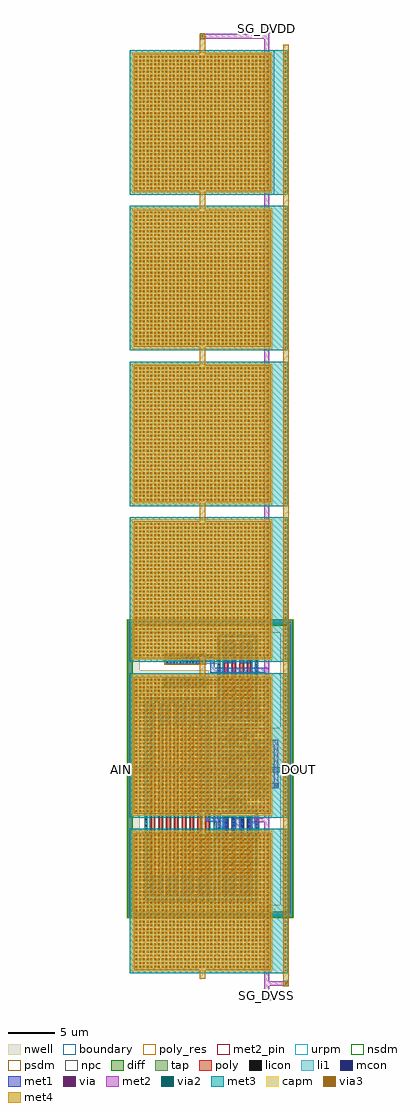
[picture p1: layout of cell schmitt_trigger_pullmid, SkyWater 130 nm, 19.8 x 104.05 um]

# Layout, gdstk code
from math import pi, radians
import gdstk
lib = gdstk.Library(unit=1e-6, precision=1e-09)
def R(c, l, rs):  # rectangles x0, y0, x1, y1
    for r in rs: c.add(gdstk.rectangle(r[:2], r[2:], *l))
def A(c, l, x, y, w, h, nx, ny, dx, dy):  # array of equal rectangles
    R(c, l, [(x+i*dx, y+j*dy, x+i*dx+w, y+j*dy+h) for i in range(nx) for j in range(ny)])
nwell = (64, 20)
diff = (65, 20)
tap = (65, 44)
poly_res = (66, 13)
poly = (66, 20)
licon = (66, 44)
li1 = (67, 20)
mcon = (67, 44)
met1 = (68, 20)
via = (68, 44)
met2_pin = (69, 16)
met2 = (69, 20)
via2 = (69, 44)
met3 = (70, 20)
via3 = (70, 44)
met4 = (71, 20)
urpm = (79, 20)
capm = (89, 44)
nsdm = (93, 44)
psdm = (94, 20)
npc = (95, 20)
boundary = (235, 4)

sky130_fd_pr__res_xhigh_ = lib.new_cell('sky130_fd_pr__res_xhigh_po_0p35_33YP5M')
R(sky130_fd_pr__res_xhigh_, tap, [(-2.07,-4.81,2.07,-4.64), (-2.07,-4.64,-1.9,4.64), (1.9,-4.64,2.07,4.64), (-2.07,4.64,2.07,4.81)])
A(sky130_fd_pr__res_xhigh_, poly_res, -1.42, -2.08, 0.35, 4.16, 4, 1, 0.83, 0)
A(sky130_fd_pr__res_xhigh_, poly, -1.42, -4.16, 0.35, 8.32, 4, 1, 0.83, 0)
A(sky130_fd_pr__res_xhigh_, licon, -1.445, -4.81, 0.17, 0.17, 9, 2, 0.34, 9.45)
A(sky130_fd_pr__res_xhigh_, licon, -2.07, -4.165, 0.17, 0.17, 1, 25, 0, 0.34)
A(sky130_fd_pr__res_xhigh_, licon, 1.9, -4.165, 0.17, 0.17, 1, 25, 0, 0.34)
A(sky130_fd_pr__res_xhigh_, licon, -1.34, -4.08, 0.19, 2, 4, 2, 0.83, 6.16)
A(sky130_fd_pr__res_xhigh_, li1, -1.42, -4.16, 0.35, 2.16, 4, 2, 0.83, 6.16)
R(sky130_fd_pr__res_xhigh_, li1, [(-2.07,-4.81,2.07,-4.64), (-2.07,-4.64,-1.9,4.64), (1.9,-4.64,2.07,4.64), (-2.07,4.64,2.07,4.81)])
A(sky130_fd_pr__res_xhigh_, mcon, -1.33, -4.065, 0.17, 0.17, 4, 6, 0.83, 0.36)
A(sky130_fd_pr__res_xhigh_, mcon, -1.33, 2.09, 0.17, 0.17, 4, 6, 0.83, 0.36)
A(sky130_fd_pr__res_xhigh_, met1, -1.37, -4.13, 0.25, 2.105, 4, 2, 0.83, 6.155)
R(sky130_fd_pr__res_xhigh_, urpm, [(-1.62,-4.36,1.62,4.36)])
R(sky130_fd_pr__res_xhigh_, psdm, [(-2.195,-4.935,2.195,4.935)])
A(sky130_fd_pr__res_xhigh_, npc, -1.515, -4.255, 0.54, 8.51, 4, 1, 0.83, 0)
R(sky130_fd_pr__res_xhigh_, boundary, [(-1.985,-4.725,1.985,4.725)])

sky130_fd_pr__pfet_01v8_ = lib.new_cell('sky130_fd_pr__pfet_01v8_6QYSWZ')
R(sky130_fd_pr__pfet_01v8_, nwell, [(-1.13,-1.595,1.13,1.595)])
R(sky130_fd_pr__pfet_01v8_, diff, [(-0.44,-0.5,0.44,0.5)])
R(sky130_fd_pr__pfet_01v8_, tap, [(-0.95,-1.415,0.95,-1.245), (-0.95,-1.245,-0.78,1.245), (0.78,-1.245,0.95,1.245), (-0.95,1.245,0.95,1.415)])
R(sky130_fd_pr__pfet_01v8_, poly, [(-0.165,-0.985,0.165,-0.655), (-0.15,-0.655,0.15,0.655), (-0.165,0.655,0.165,0.985)])
A(sky130_fd_pr__pfet_01v8_, licon, -0.425, -1.415, 0.17, 0.17, 3, 2, 0.34, 2.66)
A(sky130_fd_pr__pfet_01v8_, licon, -0.95, -0.935, 0.17, 0.17, 1, 6, 0, 0.34)
A(sky130_fd_pr__pfet_01v8_, licon, 0.78, -0.935, 0.17, 0.17, 1, 6, 0, 0.34)
A(sky130_fd_pr__pfet_01v8_, licon, -0.38, -0.425, 0.17, 0.17, 1, 3, 0, 0.34)
A(sky130_fd_pr__pfet_01v8_, licon, 0.21, -0.425, 0.17, 0.17, 1, 3, 0, 0.34)
R(sky130_fd_pr__pfet_01v8_, licon, [(-0.085,-0.905,0.085,-0.735), (-0.085,0.735,0.085,0.905)])
R(sky130_fd_pr__pfet_01v8_, li1, [(-0.95,-1.415,0.95,-1.245), (-0.95,-1.245,-0.78,1.245), (0.78,-1.245,0.95,1.245), (-0.165,-0.905,0.165,-0.735), (-0.38,-0.52,-0.21,0.52), (0.21,-0.52,0.38,0.52), (-0.165,0.735,0.165,0.905), (-0.95,1.245,0.95,1.415)])
R(sky130_fd_pr__pfet_01v8_, mcon, [(-0.085,-0.905,0.085,-0.735), (-0.38,-0.265,-0.21,-0.095), (0.21,-0.265,0.38,-0.095), (-0.38,0.095,-0.21,0.265), (0.21,0.095,0.38,0.265), (-0.085,0.735,0.085,0.905)])
R(sky130_fd_pr__pfet_01v8_, met1, [(-0.145,-0.935,0.145,-0.705), (-0.41,-0.5,-0.18,0.5), (0.18,-0.5,0.41,0.5), (-0.145,0.705,0.145,0.935)])
R(sky130_fd_pr__pfet_01v8_, nsdm, [(-1.075,-1.54,1.075,-1.12), (-1.075,-1.12,-0.655,1.12), (0.655,-1.12,1.075,1.12), (-1.075,1.12,1.075,1.54)])
R(sky130_fd_pr__pfet_01v8_, psdm, [(-0.565,-0.625,0.565,0.625)])
R(sky130_fd_pr__pfet_01v8_, npc, [(-0.185,-1.005,0.185,-0.635), (-0.185,0.635,0.185,1.005)])
R(sky130_fd_pr__pfet_01v8_, boundary, [(-0.865,-1.33,0.865,1.33)])

sky130_fd_pr__nfet_01v8_ = lib.new_cell('sky130_fd_pr__nfet_01v8_723X3M')
R(sky130_fd_pr__nfet_01v8_, diff, [(-0.39,-0.5,0.39,0.5)])
R(sky130_fd_pr__nfet_01v8_, tap, [(-0.9,-1.37,0.9,-1.2), (-0.9,-1.2,-0.73,1.2), (0.73,-1.2,0.9,1.2), (-0.9,1.2,0.9,1.37)])
R(sky130_fd_pr__nfet_01v8_, poly, [(-0.165,-0.94,0.165,-0.61), (-0.1,-0.61,0.1,0.61), (-0.165,0.61,0.165,0.94)])
A(sky130_fd_pr__nfet_01v8_, licon, -0.9, -0.765, 0.17, 0.17, 1, 5, 0, 0.34)
A(sky130_fd_pr__nfet_01v8_, licon, 0.73, -0.765, 0.17, 0.17, 1, 5, 0, 0.34)
A(sky130_fd_pr__nfet_01v8_, licon, -0.33, -0.425, 0.17, 0.17, 1, 3, 0, 0.34)
A(sky130_fd_pr__nfet_01v8_, licon, 0.16, -0.425, 0.17, 0.17, 1, 3, 0, 0.34)
R(sky130_fd_pr__nfet_01v8_, licon, [(-0.255,-1.37,-0.085,-1.2), (0.085,-1.37,0.255,-1.2), (-0.085,-0.86,0.085,-0.69), (-0.085,0.69,0.085,0.86), (-0.255,1.2,-0.085,1.37), (0.085,1.2,0.255,1.37)])
R(sky130_fd_pr__nfet_01v8_, li1, [(-0.9,-1.37,0.9,-1.2), (-0.9,-1.2,-0.73,1.2), (0.73,-1.2,0.9,1.2), (-0.165,-0.86,0.165,-0.69), (-0.33,-0.52,-0.16,0.52), (0.16,-0.52,0.33,0.52), (-0.165,0.69,0.165,0.86), (-0.9,1.2,0.9,1.37)])
R(sky130_fd_pr__nfet_01v8_, mcon, [(-0.085,-0.86,0.085,-0.69), (-0.33,-0.265,-0.16,-0.095), (0.16,-0.265,0.33,-0.095), (-0.33,0.095,-0.16,0.265), (0.16,0.095,0.33,0.265), (-0.085,0.69,0.085,0.86)])
R(sky130_fd_pr__nfet_01v8_, met1, [(-0.145,-0.89,0.145,-0.66), (-0.36,-0.5,-0.13,0.5), (0.13,-0.5,0.36,0.5), (-0.145,0.66,0.145,0.89)])
R(sky130_fd_pr__nfet_01v8_, nsdm, [(-0.515,-0.625,0.515,0.625)])
R(sky130_fd_pr__nfet_01v8_, psdm, [(-1.025,-1.495,1.025,-1.075), (-1.025,-1.075,-0.605,1.075), (0.605,-1.075,1.025,1.075), (-1.025,1.075,1.025,1.495)])
R(sky130_fd_pr__nfet_01v8_, npc, [(-0.185,-0.96,0.185,-0.59), (-0.185,0.59,0.185,0.96)])
R(sky130_fd_pr__nfet_01v8_, boundary, [(-0.815,-1.285,0.815,1.285)])

c_sky130_fd_pr__res_xhigh_ = lib.new_cell('sky130_fd_pr__res_xhigh_po_0p35_METDPQ')
R(c_sky130_fd_pr__res_xhigh_, tap, [(-3.73,-10.83,3.73,-10.66), (-3.73,-10.66,-3.56,10.66), (3.56,-10.66,3.73,10.66), (-3.73,10.66,3.73,10.83)])
A(c_sky130_fd_pr__res_xhigh_, poly_res, -3.08, -8.1, 0.35, 16.2, 8, 1, 0.83, 0)
A(c_sky130_fd_pr__res_xhigh_, poly, -3.08, -10.18, 0.35, 20.36, 8, 1, 0.83, 0)
A(c_sky130_fd_pr__res_xhigh_, licon, -3.145, -10.83, 0.17, 0.17, 19, 2, 0.34, 21.49)
A(c_sky130_fd_pr__res_xhigh_, licon, -3.73, -10.285, 0.17, 0.17, 1, 61, 0, 0.34)
A(c_sky130_fd_pr__res_xhigh_, licon, 3.56, -10.285, 0.17, 0.17, 1, 61, 0, 0.34)
A(c_sky130_fd_pr__res_xhigh_, licon, -3, -10.1, 0.19, 2, 8, 2, 0.83, 18.2)
A(c_sky130_fd_pr__res_xhigh_, li1, -3.08, -10.18, 0.35, 2.16, 8, 2, 0.83, 18.2)
R(c_sky130_fd_pr__res_xhigh_, li1, [(-3.73,-10.83,3.73,-10.66), (-3.73,-10.66,-3.56,10.66), (3.56,-10.66,3.73,10.66), (-3.73,10.66,3.73,10.83)])
A(c_sky130_fd_pr__res_xhigh_, mcon, -2.99, -10.085, 0.17, 0.17, 8, 6, 0.83, 0.36)
A(c_sky130_fd_pr__res_xhigh_, mcon, -2.99, 8.11, 0.17, 0.17, 8, 6, 0.83, 0.36)
A(c_sky130_fd_pr__res_xhigh_, met1, -3.03, -10.15, 0.25, 2.105, 8, 2, 0.83, 18.195)
R(c_sky130_fd_pr__res_xhigh_, urpm, [(-3.28,-10.38,3.28,10.38)])
R(c_sky130_fd_pr__res_xhigh_, psdm, [(-3.855,-10.955,3.855,10.955)])
A(c_sky130_fd_pr__res_xhigh_, npc, -3.175, -10.275, 0.54, 20.55, 8, 1, 0.83, 0)
R(c_sky130_fd_pr__res_xhigh_, boundary, [(-3.645,-10.745,3.645,10.745)])

sky130_fd_pr__cap_mim_m3 = lib.new_cell('sky130_fd_pr__cap_mim_m3_1_MPZGNS')
A(sky130_fd_pr__cap_mim_m3, met3, -8.43, -49.2, 16.86, 15.4, 1, 6, 0, 16.6)
A(sky130_fd_pr__cap_mim_m3, via3, 8.07, -49, 0.2, 0.2, 1, 38, 0, 0.4)
A(sky130_fd_pr__cap_mim_m3, via3, -7.83, -48.6, 0.2, 0.2, 36, 36, 0.4, 0.4)
A(sky130_fd_pr__cap_mim_m3, via3, 8.07, -32.4, 0.2, 0.2, 1, 38, 0, 0.4)
A(sky130_fd_pr__cap_mim_m3, via3, -7.83, -32, 0.2, 0.2, 36, 36, 0.4, 0.4)
A(sky130_fd_pr__cap_mim_m3, via3, 8.07, -15.8, 0.2, 0.2, 1, 38, 0, 0.4)
A(sky130_fd_pr__cap_mim_m3, via3, -7.83, -15.4, 0.2, 0.2, 36, 36, 0.4, 0.4)
A(sky130_fd_pr__cap_mim_m3, via3, 8.07, 0.8, 0.2, 0.2, 1, 38, 0, 0.4)
A(sky130_fd_pr__cap_mim_m3, via3, -7.83, 1.2, 0.2, 0.2, 36, 36, 0.4, 0.4)
A(sky130_fd_pr__cap_mim_m3, via3, 8.07, 17.4, 0.2, 0.2, 1, 38, 0, 0.4)
A(sky130_fd_pr__cap_mim_m3, via3, -7.83, 17.8, 0.2, 0.2, 36, 36, 0.4, 0.4)
A(sky130_fd_pr__cap_mim_m3, via3, 8.07, 34, 0.2, 0.2, 1, 38, 0, 0.4)
A(sky130_fd_pr__cap_mim_m3, via3, -7.83, 34.4, 0.2, 0.2, 36, 36, 0.4, 0.4)
A(sky130_fd_pr__cap_mim_m3, met4, -8.035, -48.805, 14.61, 14.61, 1, 6, 0, 16.6)
A(sky130_fd_pr__cap_mim_m3, met4, -0.99, -34.195, 0.52, 1.99, 1, 5, 0, 16.6)
R(sky130_fd_pr__cap_mim_m3, met4, [(-0.99,-49.8,-0.47,-48.805), (7.91,-49.8,8.43,49.8), (-0.99,48.805,-0.47,49.8)])
A(sky130_fd_pr__cap_mim_m3, capm, -8.23, -49, 15, 15, 1, 6, 0, 16.6)
R(sky130_fd_pr__cap_mim_m3, boundary, [(-8.43,33.8,6.97,49.2)])

schmitt_trigger_pullmid = lib.new_cell('schmitt_trigger_pullmid')
R(schmitt_trigger_pullmid, nwell, [(7.955,-11.245,25.795,-9.815), (7.955,-9.815,9.385,12.7), (24.365,-9.815,25.795,4.6), (22.6,4.6,25.795,7.7), (20.8,7.7,25.795,9.05), (24.365,9.05,25.795,18.965), (7.955,12.7,16.7,15.2), (7.955,15.2,9.385,18.965), (7.955,18.965,9.4,19.18), (24.35,18.965,25.795,19.18), (7.955,19.18,25.795,20.625)])
R(schmitt_trigger_pullmid, tap, [(8.14,-11.06,25.61,-10.69), (8.14,-10.69,8.51,20.07), (25.24,-10.69,25.61,20.07), (12.08,13.4,16.32,14.4), (12.08,15.9,16.32,16.9), (8.14,20.07,25.61,20.44)])
A(schmitt_trigger_pullmid, licon, 8.63, -10.96, 0.17, 0.17, 49, 2, 0.34, 31.13)
A(schmitt_trigger_pullmid, licon, 8.24, -10.525, 0.17, 0.17, 1, 90, 0, 0.34)
A(schmitt_trigger_pullmid, licon, 25.34, -10.525, 0.17, 0.17, 1, 90, 0, 0.34)
A(schmitt_trigger_pullmid, licon, 12.245, 13.475, 0.17, 0.17, 12, 3, 0.34, 0.34)
A(schmitt_trigger_pullmid, licon, 12.245, 15.975, 0.17, 0.17, 12, 3, 0.34, 0.34)
R(schmitt_trigger_pullmid, li1, [(8.24,-10.96,25.51,-10.79), (8.24,-10.79,8.41,20.17), (25.34,-10.79,25.51,20.17), (9.87,-9.57,21.94,-9.54), (9.84,-9.54,21.97,-9.2), (9.84,-9.2,10.21,11.92), (17.17,-9.2,18,-0.12), (21.6,-9.2,21.97,-0.12), (17.17,-0.12,21.97,0.22), (17.17,0.22,21.94,0.25), (17.17,0.25,20.72,0.535), (17.17,0.535,17.54,9.21), (17.78,0.535,20.72,0.75), (17.78,0.75,18.15,2.01), (20.35,0.75,20.72,1.58), (20.35,1.58,22.85,1.61), (20.35,1.61,22.88,1.95), (20.35,1.95,21.25,2.01), (22.51,1.95,22.88,4.11), (17.78,2.01,21.25,2.85), (17.78,2.85,18.15,4.11), (20.35,2.85,21.25,4.11), (17.78,4.11,22.885,4.45), (17.81,4.45,22.885,4.48), (17.76,4.68,22.935,4.71), (17.73,4.71,22.935,5.05), (17.73,5.05,18.1,6.41), (20.39,5.05,21.2,6.41), (22.56,5.05,22.93,7.34), (17.73,6.41,21.2,7.25), (17.73,7.25,18.1,8.61), (20.39,7.25,21.2,7.34), (20.39,7.34,22.93,7.68), (20.39,7.68,22.9,7.71), (20.39,7.71,21.55,8.55), (20.39,8.55,20.76,8.61), (17.73,8.61,20.76,8.95), (17.76,8.95,20.73,8.98), (17.17,9.21,21.94,9.24), (17.17,9.24,21.97,9.58), (17.17,9.58,18,11.92), (21.6,9.58,21.97,18.66), (9.84,11.92,18,12.26), (9.87,12.26,18,12.29), (17.63,12.29,18,15.9), (12.12,13.4,16.28,14.4), (12.12,15.9,18,16.9), (17.63,16.9,18,18.66), (17.63,18.66,21.97,19), (17.66,19,21.94,19.03), (8.24,20.17,25.51,20.34)])
R(schmitt_trigger_pullmid, mcon, [(21.215,8.215,21.385,8.385), (14.015,13.815,14.185,13.985), (14.065,16.315,14.235,16.485)])
A(schmitt_trigger_pullmid, met1, 10.56, -8.85, 1.25, 2.2, 4, 1, 1.65, 0)
R(schmitt_trigger_pullmid, met1, [(18.35,-8.85,19.6,-6.65), (20,-8.85,21.25,-6.65), (17.5,-2.7,18.75,-0.95), (19.15,-2.7,20.4,-0.5), (20.85,-2.7,22.1,-0.5), (16.36,-0.95,18.75,-0.5), (16.36,-0.5,16.86,9.93), (21.6,-0.5,22.1,-0.47), (18.97,0.3,19.53,0.8), (19,0.8,19.5,1.25), (18.29,1.25,18.61,1.295), (19.12,1.25,19.38,1.265), (19.89,1.25,20.21,1.295), (18.265,1.295,18.61,1.465), (19.89,1.295,20.235,1.465), (18.29,1.465,18.61,1.51), (19.89,1.465,20.21,1.51), (19.12,1.495,19.38,1.5), (19,1.5,19.5,2.65), (21.795,2.065,21.965,2.09), (21.75,2.09,22.01,2.41), (23.65,2.625,24.145,2.65), (19,2.65,21.75,3.15), (22,2.65,24.145,2.92), (21.995,2.92,24.145,3.15), (19,3.15,19.5,3.35), (23.65,3.15,24.145,3.18), (18.29,3.35,18.61,3.395), (19.12,3.35,19.38,3.365), (19.89,3.35,20.21,3.395), (18.265,3.395,18.61,3.565), (19.89,3.395,20.235,3.565), (18.29,3.565,18.61,3.61), (19.89,3.565,20.21,3.61), (19.12,3.595,19.38,3.6), (18.995,3.6,19.495,4.35), (21.75,3.69,22.01,3.7), (21.6,3.7,22.16,4.2), (21.63,4.2,22.13,4.35), (10.46,4.32,10.96,11.55), (18.995,4.35,26.28,4.85), (18.995,4.85,19.495,5.55), (21.63,4.85,22.13,5.05), (21.6,5.05,22.16,5.55), (19.115,5.55,19.38,5.565), (19.12,5.565,19.38,5.58), (18.265,5.6,18.585,5.86), (19.905,5.6,20.225,5.86), (19.115,5.895,19.375,5.9), (18.995,5.9,19.495,6.05), (18.995,6.05,21.6,6.55), (22.15,6.05,23.18,6.55), (18.995,6.55,19.495,7.75), (22.65,6.55,23.15,14.95), (21.75,6.855,22.01,7.175), (19.115,7.75,19.375,7.765), (18.265,7.8,18.585,8.06), (19.905,7.8,20.225,8.06), (21.02,8.05,21.58,8.55), (19.115,8.095,19.375,8.1), (18.995,8.1,19.495,8.15), (18.995,8.15,19.5,9.13), (18.995,9.13,19.495,9.15), (11.36,9.35,12.61,11.55), (13.06,9.35,14.31,11.55), (14.71,9.35,15.96,11.55), (21.605,9.9,22.1,9.93), (16.36,9.93,18.75,11.55), (19.15,9.93,20.4,12.13), (20.85,9.93,22.1,12.13), (17.49,11.55,18.75,11.58), (17.5,11.58,18.75,12.13), (13.85,13.62,14.35,13.65), (13.82,13.65,14.38,14.15), (13.85,14.15,14.35,14.18), (16.85,14.95,23.15,15.45), (16.85,15.45,17.35,16.15), (18.35,15.93,19.6,18.13), (20,15.93,21.25,18.13), (13.87,16.15,17.35,16.65)])
R(schmitt_trigger_pullmid, via, [(21.775,-0.825,21.925,-0.675), (19.175,0.475,19.325,0.625), (18.375,1.305,18.525,1.455), (19.975,1.305,20.125,1.455), (21.805,2.175,21.955,2.325), (23.82,2.825,23.97,2.975), (18.375,3.405,18.525,3.555), (19.975,3.405,20.125,3.555), (21.805,3.875,21.955,4.025), (10.635,4.525,10.785,4.675), (25.925,4.525,26.075,4.675), (21.805,5.225,21.955,5.375), (18.35,5.655,18.5,5.805), (19.99,5.655,20.14,5.805), (22.825,6.225,22.975,6.375), (21.805,6.94,21.955,7.09), (18.35,7.855,18.5,8.005), (19.99,7.855,20.14,8.005), (21.225,8.225,21.375,8.375), (19.17,8.775,19.32,8.925), (21.775,10.1,21.925,10.25), (14.025,13.825,14.175,13.975)])
R(schmitt_trigger_pullmid, met2_pin, [(22.4,-19.95,23.4,-18.95), (6.95,4.1,7.95,5.1), (25.75,4.1,26.75,5.1), (22.4,83.1,23.4,84.1)])
R(schmitt_trigger_pullmid, met2, [(22.4,-19.95,23.4,-18.95), (22.65,-18.95,23.15,-18.45), (24.7,-18.495,25.2,-18.45), (22.65,-18.45,25.2,-17.95), (22.65,-17.95,23.15,-1), (24.7,-17.95,25.2,-17.905), (21.57,-1,23.15,-0.5), (22.65,-0.5,23.15,0.3), (19,0.27,19.5,0.3), (19,0.3,23.15,0.8), (19,0.8,19.5,0.83), (22.65,0.8,23.15,6.58), (17.65,1.13,20.3,1.63), (17.65,1.63,18.15,3.23), (21.63,2,22.13,4.23), (23.62,2.655,24.175,3.15), (23.65,3.15,24.145,7.3), (17.65,3.23,20.3,3.73), (17.65,3.73,18.15,4.35), (6.95,4.1,7.95,4.35), (25.75,4.1,26.75,5.1), (6.95,4.35,18.15,4.85), (6.95,4.85,7.95,5.1), (17.65,4.85,18.15,5.48), (21.63,5.02,22.13,7.3), (17.65,5.48,20.3,5.98), (17.65,5.98,18.15,7.68), (22.65,7.3,24.145,7.8), (17.65,7.68,20.3,8.18), (22.65,7.8,23.15,8.6), (21.05,8.02,21.55,8.6), (18.95,8.6,23.15,9.1), (22.65,9.1,23.15,9.93), (21.575,9.93,23.15,10.425), (22.65,10.425,23.15,13.65), (13.82,13.65,23.15,14.15), (22.65,14.15,23.15,82.55), (15.8,82.505,16.3,82.55), (15.8,82.55,23.15,83.05), (15.8,83.05,16.3,83.095), (22.4,83.05,23.15,83.1), (22.4,83.1,23.4,84.1)])
R(schmitt_trigger_pullmid, via2, [(24.85,-18.3,25.05,-18.1), (15.95,82.7,16.15,82.9)])
R(schmitt_trigger_pullmid, met3, [(24.675,-18.475,25.225,-17.895), (15.775,82.495,16.325,83.075)])
R(schmitt_trigger_pullmid, via3, [(24.85,-18.275,25.05,-18.075), (15.95,82.675,16.15,82.875)])
R(schmitt_trigger_pullmid, met4, [(24.65,-18.475,25.25,81.9), (15.75,-17.7,16.35,83.075)])
R(schmitt_trigger_pullmid, nsdm, [(8.015,-11.185,25.735,-10.565), (8.015,-10.565,8.635,19.945), (25.115,-10.565,25.735,19.945), (20.785,4.655,20.805,6.805), (17.705,6.805,20.805,6.855), (20.785,6.855,20.805,7.735), (11.955,13.275,16.445,14.525), (8.015,19.945,25.735,20.565)])
R(schmitt_trigger_pullmid, psdm, [(17.525,-9.595,17.605,0.275), (17.525,0.275,20.745,0.355), (17.525,0.355,17.755,2.405), (20.745,1.555,20.855,2.405), (17.525,2.405,20.855,2.455), (17.525,2.455,17.755,4.505), (20.745,2.455,20.855,4.505), (17.525,9.185,17.605,12.315), (11.955,15.775,16.445,17.025)])
schmitt_trigger_pullmid.add(gdstk.Reference(sky130_fd_pr__res_xhigh_, (19.8,14.12)))
schmitt_trigger_pullmid.add(gdstk.Reference(sky130_fd_pr__pfet_01v8_, (19.245,5.73), rotation=3*pi/2))
schmitt_trigger_pullmid.add(gdstk.Reference(sky130_fd_pr__nfet_01v8_, (19.25,3.48), rotation=3*pi/2))
schmitt_trigger_pullmid.add(gdstk.Reference(sky130_fd_pr__pfet_01v8_, (19.245,7.93), rotation=3*pi/2))
schmitt_trigger_pullmid.add(gdstk.Reference(sky130_fd_pr__nfet_01v8_, (19.25,1.38), rotation=3*pi/2))
schmitt_trigger_pullmid.add(gdstk.Reference(sky130_fd_pr__pfet_01v8_, (21.88,6.195)))
schmitt_trigger_pullmid.add(gdstk.Reference(sky130_fd_pr__nfet_01v8_, (21.88,3.05)))
schmitt_trigger_pullmid.add(gdstk.Reference(sky130_fd_pr__res_xhigh_, (19.8,-4.66)))
schmitt_trigger_pullmid.add(gdstk.Reference(c_sky130_fd_pr__res_xhigh_, (13.67,1.36)))
schmitt_trigger_pullmid.add(gdstk.Reference(sky130_fd_pr__cap_mim_m3, (16.73,32.1)))
schmitt_trigger_pullmid.add(gdstk.Label('SG_DVDD', (22.9,83.6), layer=69, texttype=5))
schmitt_trigger_pullmid.add(gdstk.Label('AIN', (7.45,4.6), layer=69, texttype=5))
schmitt_trigger_pullmid.add(gdstk.Label('DOUT', (26.25,4.6), layer=69, texttype=5))
schmitt_trigger_pullmid.add(gdstk.Label('SG_DVSS', (22.9,-19.45), layer=69, texttype=5))

lib.write_gds('schmitt_trigger_pullmid.gds')
